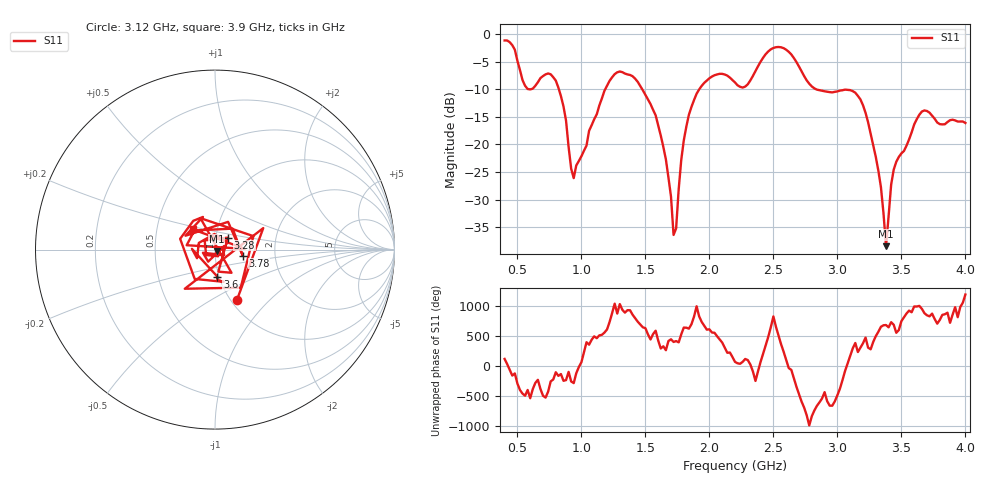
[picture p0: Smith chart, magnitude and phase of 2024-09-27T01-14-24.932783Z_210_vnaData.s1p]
!Created with skrf (http://scikit-rf.org).
# Hz S RI R 50.0
!freq ReS11 ImS11
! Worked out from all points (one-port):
!   181 points, 400 MHz to 4 GHz, reference 50 ohm
!   lowest |S11| = -38.5 dB at 3.38 GHz (marker M1), VSWR 1.02, Z = 51 - j0.709 ohm
!   |S11| at or under -10 dB: 824 MHz to 1.186 GHz (361.9 MHz wide, 36 % of centre); 1.475 GHz to 1.921 GHz (445.2 MHz wide, 26.2 % of centre); 2.835 GHz to end of sweep (the widest 3 of 4)
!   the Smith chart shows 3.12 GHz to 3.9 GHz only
!   S11 on the Smith chart (normalised r, x): 3.12 GHz: 1.07, -0.66; 3.28 GHz: 1.14, +0.15; 3.6 GHz: 0.98, -0.30; 3.78 GHz: 1.36, -0.09; 3.9 GHz: 0.76, +0.18
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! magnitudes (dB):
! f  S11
! 400 MHz  -1.1
! 580 MHz  -9.9
! 760 MHz  -7.3
! 860 MHz  -13.1
! 940 MHz  -26.1
! 1.18 GHz  -10.3
! 1.3 GHz  -6.8
! 1.58 GHz  -14.7
! 1.66 GHz  -22.7
! 1.72 GHz  -36.4
! 1.76 GHz  -28.2
! 1.82 GHz  -16.7
! 1.9 GHz  -10.8
! 2.2 GHz  -8.8
! 2.5 GHz  -2.5
! 2.66 GHz  -4.3
! 2.82 GHz  -9.8
! 3.1 GHz  -10.1
! 3.12 GHz  -10.3
! 3.28 GHz  -20.2
! 3.34 GHz  -27.7
! 3.38 GHz  -38.5
! 3.44 GHz  -24.6
! 3.56 GHz  -19.1
! 3.6 GHz  -16.4
! 3.78 GHz  -16.0
! 3.9 GHz  -15.5
! 4 GHz  -16.1
